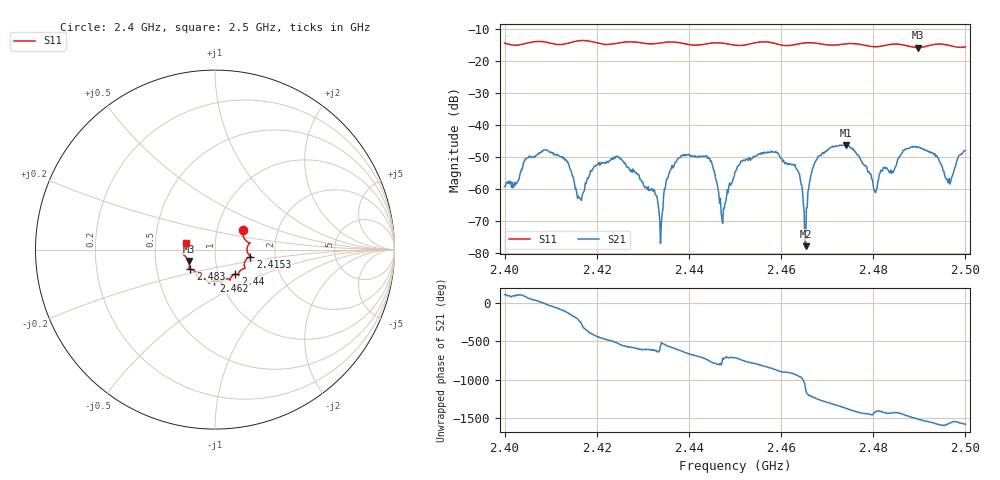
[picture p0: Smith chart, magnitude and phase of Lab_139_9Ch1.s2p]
# Hz S RI R 50
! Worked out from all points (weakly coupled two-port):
!   601 points, 2.4 GHz to 2.5 GHz, reference 50 ohm
!   highest |S21| = -46.25 dB at 2.474 GHz (marker M1); lowest = -77.8 dB at 2.4653 GHz (marker M2)
!   lowest |S11| = -15.9 dB at 2.4897 GHz (marker M3), VSWR 1.38, Z = 36.9 - j4.81 ohm
!   |S11| at or under -10 dB: start of sweep to end of sweep
!   S12 and S22 are empty: the file has one direction only
!   S11 on the Smith chart (normalised r, x): 2.4 GHz: 1.33, +0.29; 2.4153 GHz: 1.48, -0.12; 2.44 GHz: 1.20, -0.34; 2.462 GHz: 0.93, -0.33; 2.483 GHz: 0.74, -0.17; 2.5 GHz: 0.72, +0.06
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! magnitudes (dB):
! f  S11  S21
! 2.4 GHz  -14.5  -59.2
! 2.4088 GHz  -14.2  -47.7
! 2.4153 GHz  -14.0  -59.9
! 2.4167 GHz  -13.7  -63.5
! 2.4247 GHz  -14.5  -49.9
! 2.4333 GHz  -14.6  -65.0
! 2.4362 GHz  -14.1  -53.6
! 2.44 GHz  -15.0  -49.4
! 2.4447 GHz  -14.5  -51.4
! 2.4472 GHz  -14.5  -69.3
! 2.45 GHz  -15.1  -54.6
! 2.462 GHz  -15.2  -52.1
! 2.464 GHz  -14.7  -55.3
! 2.4653 GHz  -14.4  -77.8
! 2.4667 GHz  -14.4  -54.7
! 2.474 GHz  -14.8  -46.2
! 2.4803 GHz  -15.6  -60.6
! 2.483 GHz  -15.1  -53.6
! 2.4833 GHz  -15.0  -54.3
! 2.4897 GHz  -15.9  -47.0
! 2.4963 GHz  -15.2  -58.0
! 2.5 GHz  -15.7  -48.0
